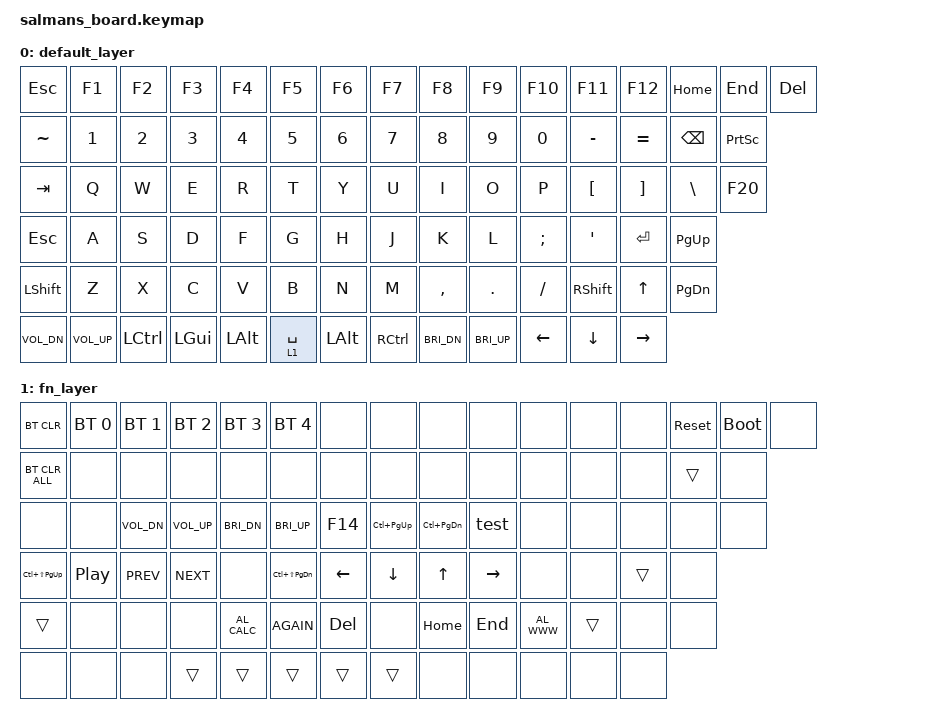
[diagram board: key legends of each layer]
#include <behaviors.dtsi>
#include <dt-bindings/zmk/keys.h>
#include <dt-bindings/zmk/bt.h>

/ {
	keymap {
		compatible = "zmk,keymap";

		default_layer {
			bindings = <
				&kp ESC   &kp F1   &kp F2   &kp F3   &kp F4   &kp F5   &kp F6   &kp F7   &kp F8   &kp F9   &kp F10  &kp F11    &kp F12  &kp HOME  &kp END  &kp DEL
				&kp TILDE &kp N1   &kp N2   &kp N3   &kp N4   &kp N5   &kp N6   &kp N7   &kp N8   &kp N9   &kp N0   &kp MINUS  &kp EQUAL     &kp BSPC      &kp PSCRN
				&kp TAB      &kp Q    &kp W    &kp E    &kp R    &kp T    &kp Y    &kp U    &kp I    &kp O    &kp P    &kp LBKT   &kp RBKT    &kp BSLH     &kp F20
				&kp ESC         &kp A    &kp S    &kp D    &kp F    &kp G    &kp H    &kp J    &kp K    &kp L    &kp SEMI   &kp SQT        &kp RET         &kp PG_UP
				&kp LEFT_SHIFT    &kp Z    &kp X    &kp C    &kp V    &kp B    &kp N    &kp M   &kp COMMA  &kp DOT   &kp FSLH   &kp RIGHT_SHIFT   &kp UP   &kp PG_DN
				&kp C_VOL_DN &kp C_VOL_UP     &kp LCTRL &kp LGUI &kp LALT &lt 1 SPACE &kp LALT &kp RCTRL      &kp C_BRI_DN &kp C_BRI_UP  &kp LEFT &kp DOWN &kp RIGHT
			>;
		};

		fn_layer {
			bindings = <
				&bt BT_CLR        &bt BT_SEL 0 &bt BT_SEL 1  &bt BT_SEL 2  &bt BT_SEL 3  &bt BT_SEL 4      &none    &none         &none         &none     &none        &none  &none  &sys_reset &bootloader &none
				&bt BT_CLR_ALL    &none        &none         &none         &none         &none             &none    &none         &none         &none     &none        &none  &none  &trans     &none
				&none             &none        &kp C_VOL_DN  &kp C_VOL_UP  &kp C_BRI_DN  &kp C_BRI_UP      &kp F14  &kp LC(PG_UP) &kp LC(PG_DN) &test     &none        &none  &none  &none      &none
				&kp LC(LS(PG_UP)) &kp C_PP     &kp C_PREV    &kp C_NEXT    &none         &kp LC(LS(PG_DN)) &kp LEFT &kp DOWN      &kp UP        &kp RIGHT &none        &none  &trans &none
				&trans            &none        &none         &none         &kp C_AL_CALC &kp K_AGAIN       &kp DEL  &none         &kp HOME      &kp END   &kp C_AL_WWW &trans &none  &none
				&none             &none        &none         &trans        &trans        &trans            &trans   &trans        &none         &none     &none        &none  &none
			>;
		};
	};

    macros {
        test: test {
            compatible = "zmk,behavior-macro";
            #binding-cells = <0>;
			wait-ms = <0>;
        	tap-ms = <15>;
            bindings
                = <&macro_tap &kp H &kp O &kp W &kp A &kp R &kp E &kp Y &kp O &kp U &kp B &kp R &kp O &kp RET>
                ;
        };
    };
};
